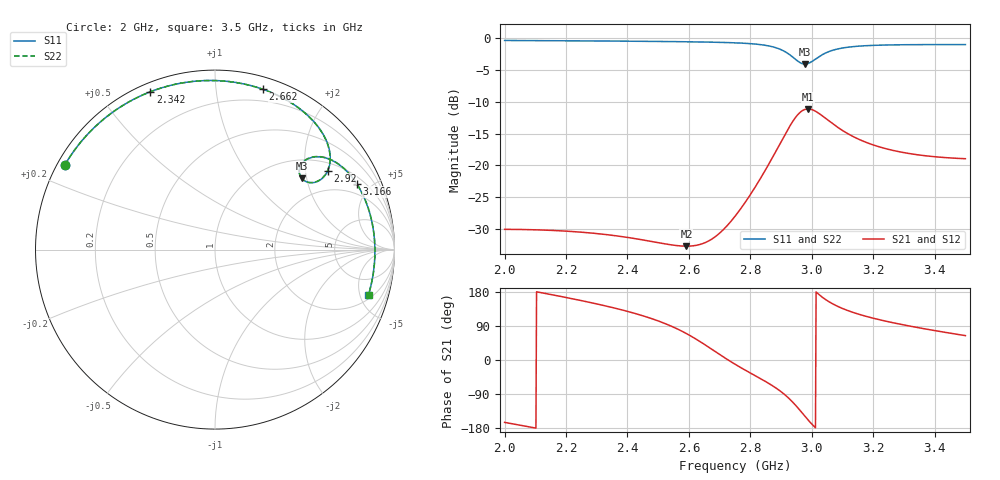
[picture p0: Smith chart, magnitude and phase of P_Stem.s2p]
! Touchstone file exported from HFSS 2022.1.0
!  File:  C:/Users/Hamza Safder/Downloads/PSF-V2 with holder.aedt
!  Generated:  1:38:14 PM  Sep 29, 2023
!  Design:  HFSSDesign1
!  Project:  PSF-V2 with holder
!  Setup:  Setup1
!  Solution:  Sweep
! Variables:
!  WS = 5mm
!  ax = 15mm
!  az = 3.18mm
!  azd = 3mm
!  bx = 13mm
!  bx2 = 12.5mm
!  bx3 = 3.16mm
!  cin = 27.8mm
!  gap = 0.7mm
!  mid = 3mm
!  shift = 21.24mm
!  strip_1L = 18.62mm
!  substrate_L = 80mm
!  substrate_W = 70mm
!  t = 3mm
!  w50 = 9.18mm
!  wt = 1mm
!  xs = 0.8mm
!  zzz = 8mm
# GHz S MA R 50.000000
! Terminal data exported
! Port[1] = ground_T1
! Port[2] = ground_T2
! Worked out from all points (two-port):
!   751 points, 2 GHz to 3.5 GHz, reference 50 ohm
!   highest |S21| = -11.11 dB at 2.988 GHz (marker M1); lowest = -32.7 dB at 2.592 GHz (marker M2)
!   |S21| within 3 dB of the highest: 2.925 GHz to 3.088 GHz (162.8 MHz wide, 5.42 % of centre)
!   lowest |S11| = -4.1 dB at 2.978 GHz (marker M3), VSWR 4.34, Z = 71.6 + j93.5 ohm
!   |S11| at or under -10 dB: nowhere
!   |S22| runs from -4.1 to -0.4 dB; largest |S21 - S12| = 4.8e-15
!   S11 on the Smith chart (normalised r, x): 2 GHz: 0.02, +0.26; 2.342 GHz: 0.04, +0.67; 2.662 GHz: 0.10, +1.34; 2.92 GHz: 1.25, +2.65; 3.166 GHz: 1.36, +4.12; 3.5 GHz: 2.43, -5.96
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2  0.9604 150.7  0.03147 -164.6  0.03147 -164.6  0.9603 150.7
! Gamma 0 0 0 0
! Port Impedance 50 0 50 0
2.12  0.9573 137.5  0.0311 177.5  0.0311 177.5  0.9572 137.5
2.25  0.9535 122.8  0.02989 156.7  0.02989 156.7  0.9533 122.8
2.342  0.9503 112.2  0.02841 140.2  0.02841 140.2  0.9501 112.2
2.5  0.9435 93.5  0.02472 103.1  0.02472 103.1  0.9433 93.5
2.592  0.9381 82.2  0.02321 69.7  0.02321 69.7  0.9378 82.3
2.662  0.9323 73.3  0.02534 35.1  0.02534 35.1  0.932 73.4
2.704  0.9275 67.8  0.02998 12.4  0.02998 12.4  0.9272 67.9
2.75  0.92 61.6  0.03982 -11.1  0.03982 -11.1  0.9196 61.6
2.86  0.87 44.7  0.1025 -61.9  0.1025 -61.9  0.8693 44.7
2.894  0.8244 38.8  0.1445 -80.0  0.1445 -80.0  0.8237 38.9
2.92  0.7653 34.9  0.1881 -97.2  0.1881 -97.2  0.7644 35.0
2.95  0.673 33.9  0.2436 -122.0  0.2436 -122.0  0.6723 34.0
2.978  0.6257 39.4  0.2758 -148.8  0.2758 -148.8  0.6255 39.6
2.988  0.6328 41.9  0.2782 -158.3  0.2782 -158.3  0.6329 42.0
3  0.6553 43.9  0.2749 -169.1  0.2749 -169.1  0.6557 44.1
3.03  0.7323 44.1  0.2497 168.4  0.2497 168.4  0.733 44.2
3.062  0.7952 40.2  0.2181 150.9  0.2181 150.9  0.7959 40.3
3.166  0.8707 24.8  0.1556 117.6  0.1556 117.6  0.8712 24.9
3.25  0.8854 13.6  0.1338 100.8  0.1338 100.8  0.8858 13.7
3.368  0.8911 -1.0  0.1193 82.2  0.1193 82.2  0.8915 -0.9
3.5  0.8913 -16.4  0.113 64.3  0.113 64.3  0.8917 -16.3
